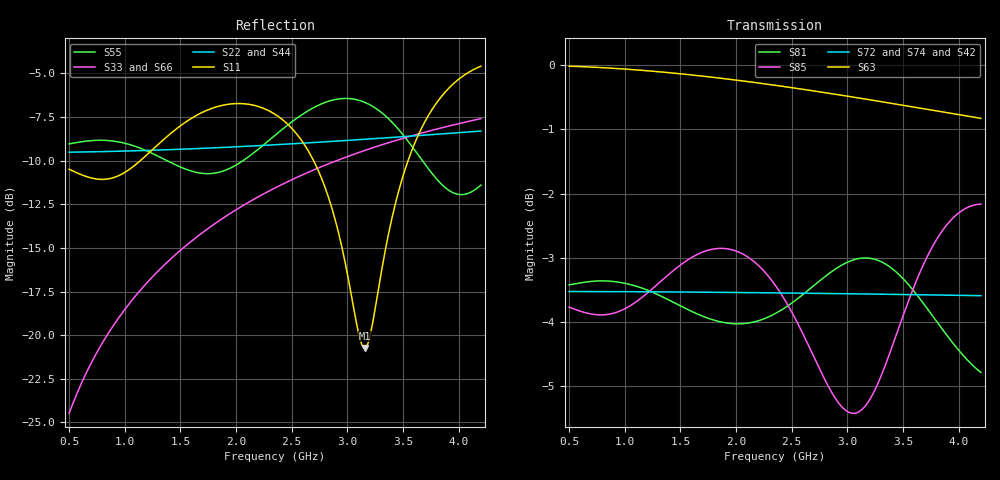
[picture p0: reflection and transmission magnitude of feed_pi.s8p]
! Created with skrf 2.1.0 (http://scikit-rf.org).
# Hz S RI R 50.0
!freq ReS11 ImS11 ReS12 ImS12 ReS13 ImS13
! ReS14 ImS14 ReS15 ImS15 ReS16 ImS16 ReS17 ImS17
! ReS18 ImS18
! ReS21 ImS21 ReS22 ImS22 ReS23 ImS23
! ReS24 ImS24 ReS25 ImS25 ReS26 ImS26 ReS27 ImS27
! ReS28 ImS28
! ReS31 ImS31 ReS32 ImS32 ReS33 ImS33
! ReS34 ImS34 ReS35 ImS35 ReS36 ImS36 ReS37 ImS37
! ReS38 ImS38
! ReS41 ImS41 ReS42 ImS42 ReS43 ImS43
! ReS44 ImS44 ReS45 ImS45 ReS46 ImS46 ReS47 ImS47
! ReS48 ImS48
! ReS51 ImS51 ReS52 ImS52 ReS53 ImS53
! ReS54 ImS54 ReS55 ImS55 ReS56 ImS56 ReS57 ImS57
! ReS58 ImS58
! ReS61 ImS61 ReS62 ImS62 ReS63 ImS63
! ReS64 ImS64 ReS65 ImS65 ReS66 ImS66 ReS67 ImS67
! ReS68 ImS68
! ReS71 ImS71 ReS72 ImS72 ReS73 ImS73
! ReS74 ImS74 ReS75 ImS75 ReS76 ImS76 ReS77 ImS77
! ReS78 ImS78
! ReS81 ImS81 ReS82 ImS82 ReS83 ImS83
! ReS84 ImS84 ReS85 ImS85 ReS86 ImS86 ReS87 ImS87
! ReS88 ImS88
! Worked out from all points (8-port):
!   371 points, 500 MHz to 4.2 GHz, reference 50 ohm
!   strongest paths, dB at 500 MHz, 1.42 GHz, 2.35 GHz, 3.28 GHz, 4.2 GHz:
!     S63: 0.0, -0.1, -0.3, -0.6, -0.8
!     S72: -3.5, -3.5, -3.5, -3.6, -3.6
!     S74: -3.5, -3.5, -3.6, -3.6, -3.7
!     S85: -3.8, -3.2, -3.4, -4.9, -2.2
!     S81: -3.4, -3.7, -3.9, -3.0, -4.8
!     S42: -3.5, -3.6, -3.6, -3.7, -3.8
!   lowest |S11| = -20.7 dB at 3.16 GHz (marker M1), VSWR 1.20, Z = 58.9 + j4.57 ohm
!   |S11| at or under -10 dB: start of sweep to 1.141 GHz; 2.696 GHz to 3.546 GHz (849.6 MHz wide, 27.2 % of centre)
